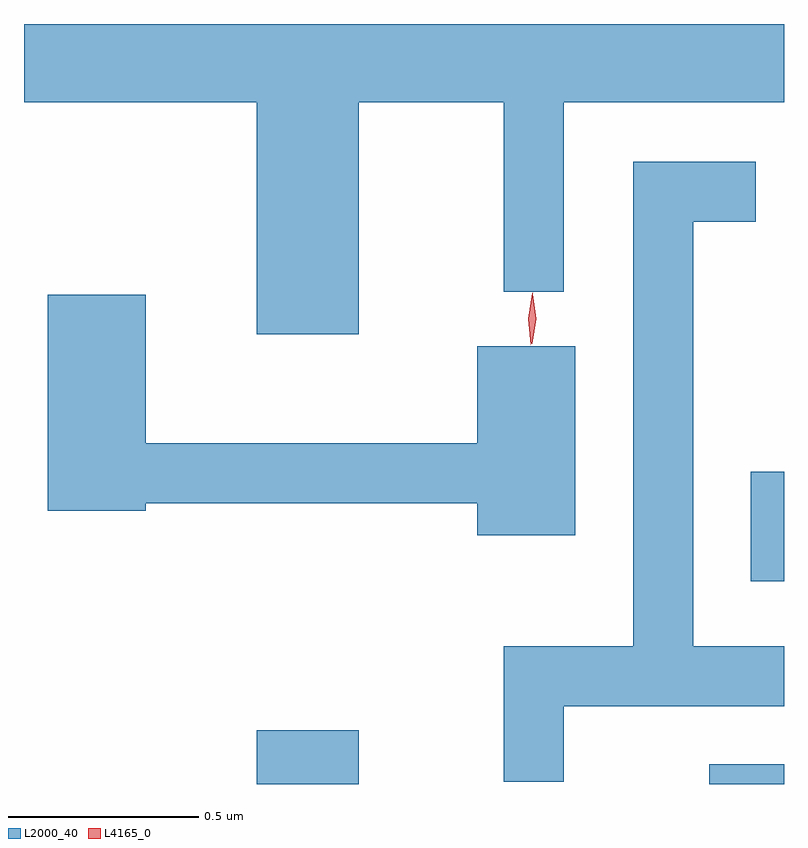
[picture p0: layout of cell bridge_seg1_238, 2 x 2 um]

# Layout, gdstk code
import gdstk
lib = gdstk.Library(unit=1e-6, precision=1e-09)
def R(c, l, rs):  # rectangles x0, y0, x1, y1
    for r in rs: c.add(gdstk.rectangle(r[:2], r[2:], *l))
def P(c, l, *ps):  # polygons
    for p in ps: c.add(gdstk.Polygon(p, *l))
L2000_40 = (2000, 40)
L4165_0 = (4165, 0)

bridge_seg1_238 = lib.new_cell('bridge_seg1_238')
R(bridge_seg1_238, L2000_40, [(814.476,873.362,814.744,873.504), (815.666,873.362,815.863,873.414), (815.776,873.896,815.863,874.184)])
P(bridge_seg1_238, L2000_40, [(814.744,875.156),(815.126,875.156),(815.126,874.658),(815.284,874.658),(815.284,875.156),(815.863,875.156),(815.863,875.362),(813.863,875.362),(813.863,875.156),(814.476,875.156),(814.476,874.546),(814.744,874.546)],
  [(815.284,873.566),(815.863,873.566),(815.863,873.724),(815.624,873.724),(815.624,874.841),(815.788,874.841),(815.788,874.999),(815.466,874.999),(815.466,873.724),(815.126,873.724),(815.126,873.368),(815.284,873.368)],
  [(815.314,874.514),(815.056,874.514),(815.056,874.259),(814.184,874.259),(814.184,874.649),(813.926,874.649),(813.926,874.081),(814.184,874.081),(814.184,874.101),(815.056,874.101),(815.056,874.016),(815.314,874.016)])
P(bridge_seg1_238, L4165_0, [(815.196,874.518),(815.19,874.587),(815.201,874.654),(815.202,874.655),(815.202,874.654),(815.209,874.586),(815.197,874.518),(815.197,874.518)],
  [(815.2,874.52),(815.199,874.521),(815.191,874.586),(815.201,874.651),(815.202,874.652),(815.202,874.651),(815.211,874.586),(815.2,874.521)])

lib.write_gds('bridge_seg1_238.gds')
